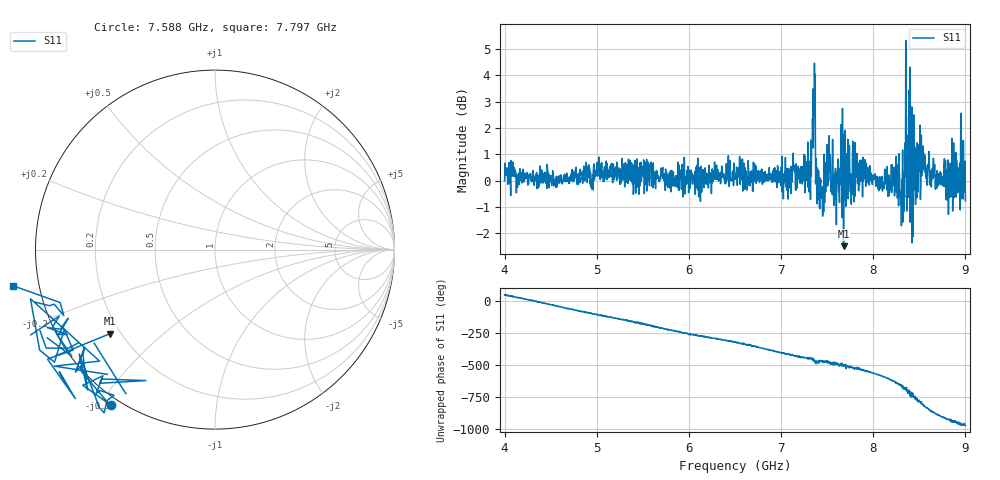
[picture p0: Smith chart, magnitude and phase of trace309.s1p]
! Created with skrf 1.8.0 (http://scikit-rf.org).
# Hz S RI R 50.0
!freq ReS11 ImS11
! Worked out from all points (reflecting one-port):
!   1601 points, 4 GHz to 9 GHz, reference 50 ohm
!   lowest |S11| = -2.5 dB at 7.678 GHz (marker M1), VSWR 7.04, Z = 7.95 - j17.1 ohm
!   phase of S11 starts at 52 deg and turns -1020 deg over the sweep
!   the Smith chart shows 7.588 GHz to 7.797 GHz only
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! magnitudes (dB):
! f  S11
! 4 GHz  0.0
! 4.625 GHz  -0.1
! 5.25 GHz  -0.1
! 5.875 GHz  -0.2
! 6.5 GHz  0.1
! 7.038 GHz  0.0
! 7.125 GHz  0.5
! 7.294 GHz  -0.2
! 7.319 GHz  -0.7
! 7.347 GHz  3.5
! 7.369 GHz  4.0
! 7.4 GHz  -0.3
! 7.438 GHz  -0.7
! 7.512 GHz  0.4
! 7.588 GHz  0.4
! 7.669 GHz  1.1
! 7.678 GHz  -2.5
! 7.75 GHz  0.0
! 8.259 GHz  0.6
! 8.316 GHz  0.0
! 8.334 GHz  -1.0
! 8.375 GHz  0.3
! 8.447 GHz  1.3
! 8.459 GHz  -0.9
! 8.544 GHz  0.7
! 8.7 GHz  0.0
! 8.972 GHz  0.8
! 9 GHz  -0.8
